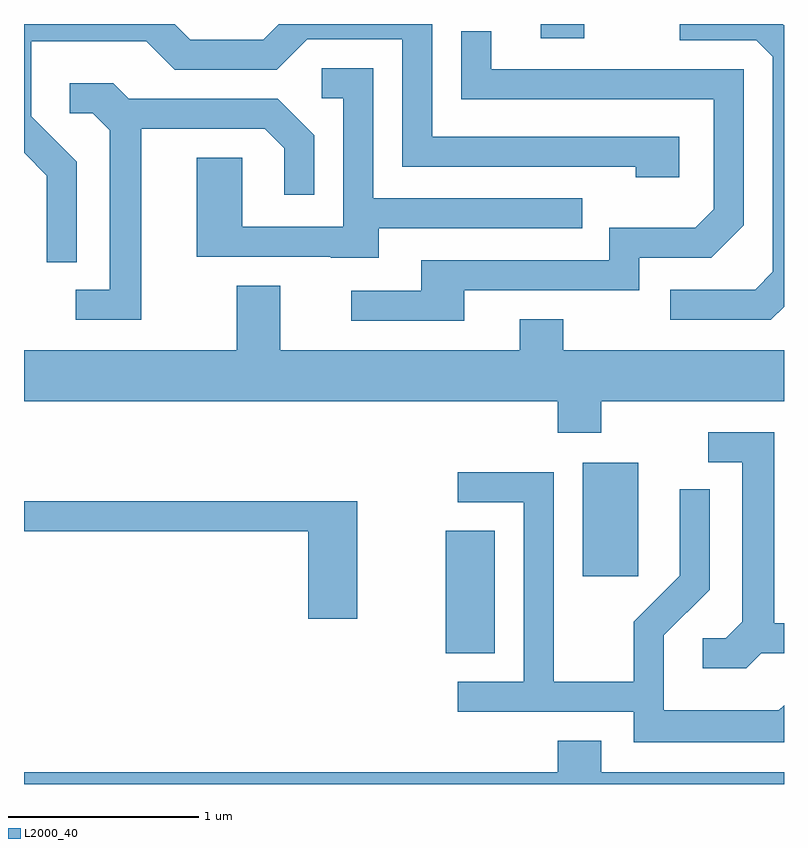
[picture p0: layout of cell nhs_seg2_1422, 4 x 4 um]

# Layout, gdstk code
import gdstk
lib = gdstk.Library(unit=1e-6, precision=1e-09)
def R(c, l, rs):  # rectangles x0, y0, x1, y1
    for r in rs: c.add(gdstk.rectangle(r[:2], r[2:], *l))
def P(c, l, *ps):  # polygons
    for p in ps: c.add(gdstk.Polygon(p, *l))
L2000_40 = (2000, 40)

nhs_seg2_1422 = lib.new_cell('nhs_seg2_1422')
R(nhs_seg2_1422, L2000_40, [(227.831,1102.491,228.089,1103.134), (228.551,1102.896,228.844,1103.494), (228.331,1105.726,228.559,1105.802)])
P(nhs_seg2_1422, L2000_40, [(229.611,1104.315),(229.611,1105.795),(229.604,1105.802),(229.063,1105.802),(229.063,1105.716),(229.464,1105.716),(229.551,1105.629),(229.551,1104.497),(229.459,1104.404),(229.013,1104.404),(229.013,1104.246),(229.542,1104.246)],
  [(225.889,1105.077),(225.649,1105.317),(225.649,1105.711),(226.254,1105.711),(226.404,1105.561),(226.942,1105.561),(227.102,1105.721),(227.601,1105.721),(227.601,1105.051),(228.831,1105.051),(228.831,1104.996),(229.059,1104.996),(229.059,1105.209),(227.759,1105.209),(227.759,1105.802),(226.952,1105.802),(226.869,1105.719),(226.487,1105.719),(226.404,1105.802),(225.611,1105.802),(225.611,1105.124),(225.731,1105.004),(225.731,1104.548),(225.889,1104.548)],
  [(227.929,1104.401),(228.849,1104.401),(228.849,1104.571),(229.227,1104.571),(229.399,1104.744),(229.399,1105.564),(228.069,1105.564),(228.069,1105.763),(227.911,1105.763),(227.911,1105.406),(229.241,1105.406),(229.241,1104.827),(229.144,1104.729),(228.691,1104.729),(228.691,1104.559),(227.701,1104.559),(227.701,1104.399),(227.333,1104.399),(227.333,1104.241),(227.929,1104.241)],
  [(227.479,1104.726),(228.548,1104.726),(228.548,1104.884),(227.449,1104.884),(227.449,1105.569),(227.178,1105.569),(227.178,1105.411),(227.291,1105.411),(227.291,1104.734),(226.759,1104.734),(226.759,1105.099),(226.521,1105.099),(226.521,1104.576),(227.225,1104.576),(227.225,1104.571),(227.479,1104.571)],
  [(226.229,1105.251),(226.879,1105.251),(226.981,1105.149),(226.981,1104.903),(227.139,1104.903),(227.139,1105.217),(226.947,1105.409),(226.162,1105.409),(226.082,1105.489),(225.853,1105.489),(225.853,1105.331),(225.974,1105.331),(226.061,1105.244),(226.061,1104.404),(225.883,1104.404),(225.883,1104.246),(226.229,1104.246)],
  [(228.649,1103.816),(229.611,1103.816),(229.611,1104.084),(228.449,1104.084),(228.449,1104.249),(228.221,1104.249),(228.221,1104.084),(226.959,1104.084),(226.959,1104.424),(226.731,1104.424),(226.731,1104.084),(225.611,1104.084),(225.611,1103.816),(228.421,1103.816),(228.421,1103.651),(228.649,1103.651)],
  [(229.492,1102.491),(229.611,1102.491),(229.611,1102.649),(229.559,1102.649),(229.559,1103.654),(229.213,1103.654),(229.213,1103.496),(229.391,1103.496),(229.391,1102.657),(229.304,1102.569),(229.183,1102.569),(229.183,1102.411),(229.412,1102.411)],
  [(229.611,1102.216),(229.584,1102.189),(228.979,1102.189),(228.979,1102.584),(229.219,1102.824),(229.219,1103.353),(229.061,1103.353),(229.061,1102.897),(228.821,1102.657),(228.821,1102.339),(228.399,1102.339),(228.399,1103.444),(227.893,1103.444),(227.893,1103.286),(228.241,1103.286),(228.241,1102.339),(227.893,1102.339),(227.893,1102.181),(228.821,1102.181),(228.821,1102.021),(229.611,1102.021)],
  [(227.364,1103.289),(225.611,1103.289),(225.611,1103.131),(227.106,1103.131),(227.106,1102.671),(227.364,1102.671)],
  [(229.611,1101.864),(228.649,1101.864),(228.649,1102.029),(228.421,1102.029),(228.421,1101.864),(225.611,1101.864),(225.611,1101.802),(229.611,1101.802)])

lib.write_gds('nhs_seg2_1422.gds')
